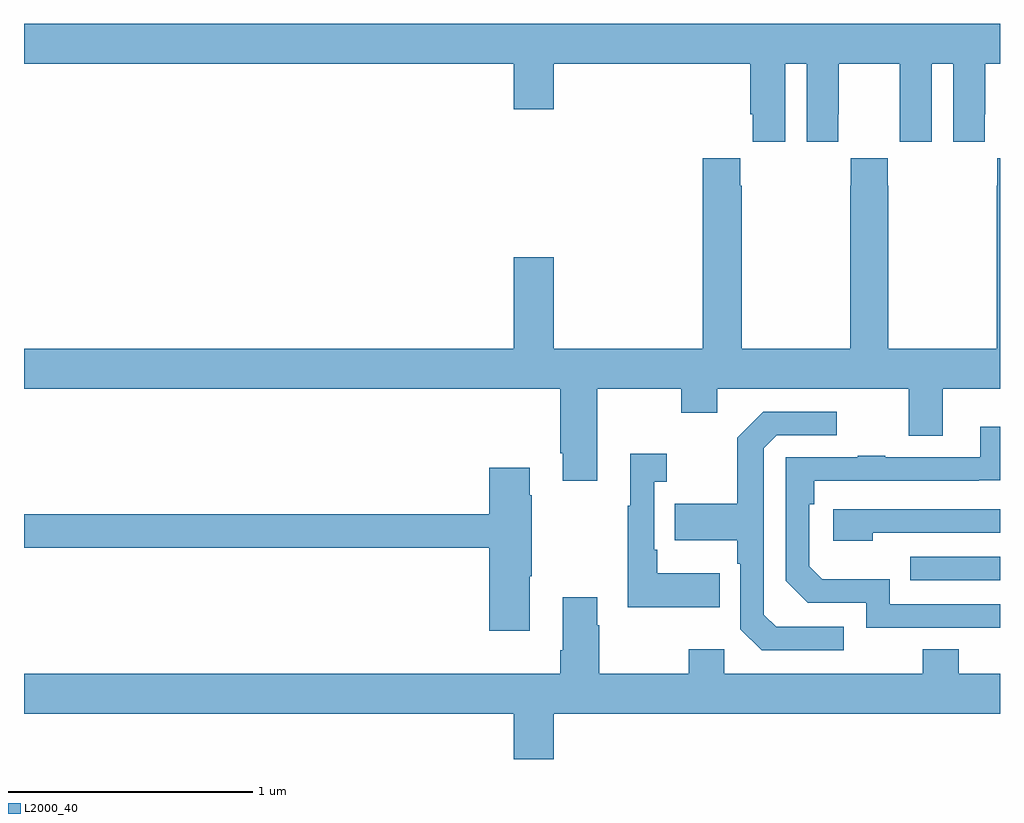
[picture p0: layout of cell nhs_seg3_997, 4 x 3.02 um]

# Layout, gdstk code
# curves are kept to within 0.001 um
import gdstk
lib = gdstk.Library(unit=1e-6, precision=1e-09)
def R(c, l, rs):  # rectangles x0, y0, x1, y1
    for r in rs: c.add(gdstk.rectangle(r[:2], r[2:], *l))
def P(c, l, *ps):  # polygons
    for p in ps: c.add(gdstk.Polygon(p, *l))
L2000_40 = (2000, 40)

nhs_seg3_997 = lib.new_cell('nhs_seg3_997')
R(nhs_seg3_997, L2000_40, [(166.633,681.483,167,681.579)])
P(nhs_seg3_997, L2000_40, [(166.12,683.6),(166.208,683.6),(166.208,683.28),(166.338,683.28),(166.338,683.392),(166.339,683.392),(166.339,683.6),(166.589,683.6),(166.589,683.392),(166.59,683.392),(166.59,683.28),(166.72,683.28),(166.72,683.6),(166.808,683.6),(166.808,683.28),(166.938,683.28),(166.938,683.392),(166.939,683.392),(166.939,683.6),(167,683.6),(167,683.764),(163,683.764),(163,683.6),(165.008,683.6),(165.008,683.412),(165.172,683.412),(165.172,683.6),(165.977,683.6),(165.977,683.392),(165.986,683.392),(165.986,683.28),(166.12,683.28)],
  [(165.349,682.268),(165.694,682.268),(165.694,682.169),(165.841,682.169),(165.841,682.268),(166.625,682.268),(166.625,682.074),(166.765,682.074),(166.765,682.268),(167,682.268),(167,683.212),(166.989,683.212),(166.989,683.099),(166.987,683.099),(166.987,682.432),(166.542,682.432),(166.542,683.099),(166.539,683.099),(166.539,683.212),(166.389,683.212),(166.389,683.099),(166.387,683.099),(166.387,682.432),(165.942,682.432),(165.942,683.099),(165.935,683.099),(165.935,683.212),(165.782,683.212),(165.782,682.432),(165.172,682.432),(165.172,682.807),(165.008,682.807),(165.008,682.432),(163,682.432),(163,682.268),(165.197,682.268),(165.197,682.003),(165.209,682.003),(165.209,681.891),(165.349,681.891)],
  [(166.36,681.291),(166.083,681.291),(166.032,681.342),(166.032,682.023),(166.086,682.077),(166.33,682.077),(166.33,682.173),(166.029,682.173),(165.924,682.067),(165.924,681.795),(165.667,681.795),(165.667,681.647),(165.924,681.647),(165.924,681.551),(165.936,681.551),(165.936,681.282),(166.023,681.195),(166.36,681.195)],
  [(167,681.384),(166.548,681.384),(166.548,681.487),(166.271,681.487),(166.218,681.54),(166.218,681.794),(166.238,681.794),(166.238,681.891),(167,681.892),(167,682.111),(166.919,682.111),(166.919,681.987),(166.529,681.987),(166.529,681.992),(166.417,681.992),(166.417,681.987),(166.122,681.987),(166.122,681.48),(166.212,681.39),(166.452,681.39),(166.452,681.288),(167,681.288)],
  [(165.851,681.511),(165.595,681.511),(165.595,681.607),(165.582,681.607),(165.582,681.887),(165.634,681.887),(165.634,682),(165.485,682),(165.485,681.787),(165.474,681.787),(165.474,681.371),(165.851,681.371)],
  [(165.073,681.499),(165.081,681.499),(165.081,681.83),(165.073,681.83),(165.073,681.943),(164.906,681.943),(164.906,681.752),(163,681.752),(163,681.616),(164.906,681.616),(164.906,681.276),(165.073,681.276)],
  [(166.478,681.678),(167,681.678),(167,681.774),(166.317,681.774),(166.317,681.644),(166.478,681.644)],
  [(165.172,680.936),(167,680.936),(167,681.1),(166.831,681.1),(166.831,681.199),(166.684,681.199),(166.684,681.1),(165.87,681.1),(165.87,681.199),(165.724,681.199),(165.724,681.1),(165.357,681.1),(165.357,681.299),(165.349,681.299),(165.349,681.412),(165.209,681.412),(165.209,681.196),(165.197,681.196),(165.197,681.1),(163,681.1),(163,680.936),(165.008,680.936),(165.008,680.748),(165.172,680.748)])

lib.write_gds('nhs_seg3_997.gds')
